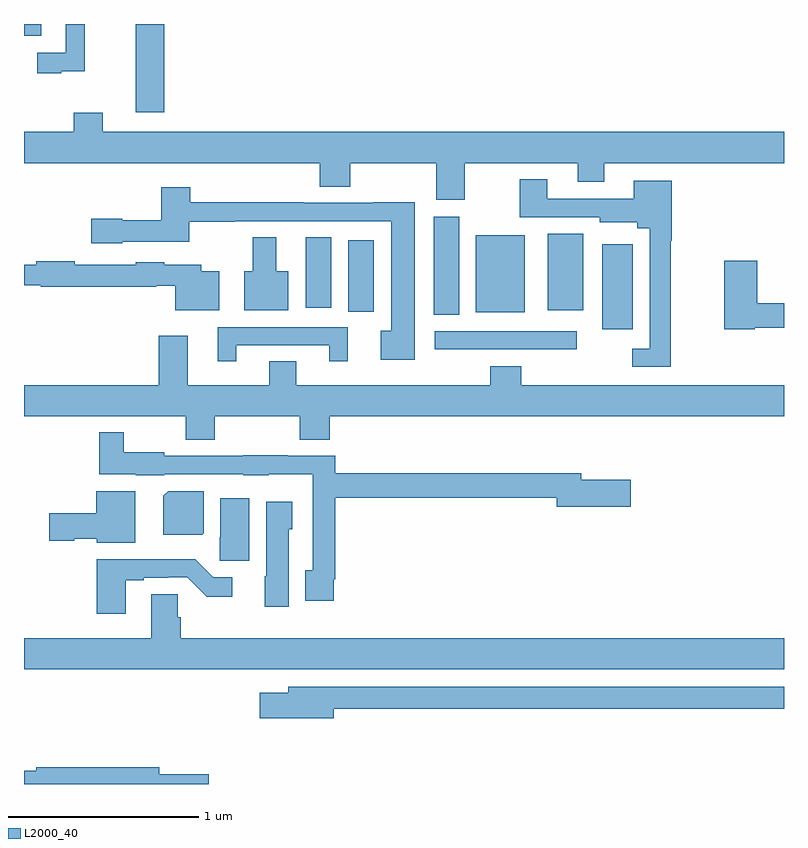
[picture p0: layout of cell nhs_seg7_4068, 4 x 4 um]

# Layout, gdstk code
import gdstk
lib = gdstk.Library(unit=1e-6, precision=1e-09)
def R(c, l, rs):  # rectangles x0, y0, x1, y1
    for r in rs: c.add(gdstk.rectangle(r[:2], r[2:], *l))
def P(c, l, *ps):  # polygons
    for p in ps: c.add(gdstk.Polygon(p, *l))
L2000_40 = (2000, 40)

nhs_seg7_4068 = lib.new_cell('nhs_seg7_4068')
R(nhs_seg7_4068, L2000_40, [(371.163,1014.288,371.908,1014.384), (372.044,1014.393,372.205,1014.841), (371.156,1014.469,371.29,1014.985), (371.378,1014.482,371.635,1014.889), (370.706,1014.486,370.84,1014.862), (371.756,1014.494,371.944,1014.895), (370.484,1014.507,370.618,1014.878), (369.587,1015.536,369.737,1016), (369,1015.937,369.091,1016)])
P(nhs_seg7_4068, L2000_40, [(369.197,1015.751),(369.32,1015.751),(369.32,1016),(369.219,1016),(369.219,1015.848),(369.069,1015.848),(369.069,1015.74),(369.197,1015.74)],
  [(371.319,1015.268),(371.915,1015.268),(371.915,1015.169),(372.055,1015.169),(372.055,1015.268),(373,1015.268),(373,1015.432),(369.415,1015.432),(369.415,1015.534),(369.263,1015.534),(369.263,1015.432),(369,1015.432),(369,1015.268),(370.556,1015.268),(370.556,1015.144),(370.716,1015.144),(370.716,1015.268),(371.171,1015.268),(371.171,1015.074),(371.319,1015.074)],
  [(372.403,1014.86),(372.41,1014.86),(372.41,1015.174),(372.209,1015.174),(372.209,1015.08),(371.755,1015.08),(371.755,1015.183),(371.608,1015.183),(371.608,1014.984),(372.03,1014.984),(372.03,1014.956),(372.228,1014.956),(372.228,1014.926),(372.294,1014.926),(372.294,1014.291),(372.201,1014.291),(372.201,1014.195),(372.403,1014.195)],
  [(371.056,1015.061),(370.838,1015.061),(370.838,1015.059),(370.472,1015.059),(370.472,1015.061),(369.875,1015.061),(369.875,1015.141),(369.722,1015.141),(369.722,1014.967),(369.516,1014.967),(369.516,1014.975),(369.354,1014.975),(369.354,1014.845),(369.516,1014.845),(369.516,1014.854),(369.87,1014.854),(369.87,1014.958),(370.109,1014.958),(370.109,1014.963),(370.934,1014.963),(370.934,1014.386),(370.878,1014.386),(370.878,1014.233),(371.056,1014.233)],
  [(370.39,1014.7),(370.327,1014.7),(370.327,1014.878),(370.205,1014.878),(370.205,1014.7),(370.16,1014.7),(370.16,1014.494),(370.39,1014.494)],
  [(372.846,1014.402),(373,1014.402),(373,1014.53),(372.858,1014.53),(372.858,1014.754),(372.685,1014.754),(372.685,1014.394),(372.846,1014.394)],
  [(370.027,1014.7),(369.934,1014.7),(369.934,1014.733),(369.738,1014.733),(369.738,1014.745),(369.588,1014.745),(369.588,1014.732),(369.266,1014.732),(369.266,1014.752),(369.064,1014.752),(369.064,1014.733),(369,1014.733),(369,1014.624),(369.088,1014.624),(369.088,1014.616),(369.695,1014.616),(369.695,1014.623),(369.797,1014.623),(369.797,1014.494),(370.027,1014.494)],
  [(370.117,1014.309),(370.607,1014.309),(370.607,1014.225),(370.705,1014.225),(370.705,1014.405),(370.019,1014.405),(370.019,1014.225),(370.117,1014.225)],
  [(370.005,1013.936),(370.45,1013.936),(370.45,1013.812),(370.61,1013.812),(370.61,1013.936),(373,1013.936),(373,1014.1),(371.618,1014.1),(371.618,1014.199),(371.453,1014.199),(371.453,1014.1),(370.432,1014.1),(370.432,1014.224),(370.292,1014.224),(370.292,1014.1),(369.862,1014.1),(369.862,1014.358),(369.71,1014.358),(369.71,1014.1),(369,1014.1),(369,1013.936),(369.85,1013.936),(369.85,1013.812),(370.005,1013.812)],
  [(370.63,1013.077),(370.637,1013.077),(370.637,1013.506),(371.804,1013.506),(371.804,1013.459),(372.193,1013.459),(372.193,1013.601),(371.932,1013.601),(371.932,1013.635),(370.637,1013.635),(370.637,1013.727),(370.387,1013.727),(370.387,1013.729),(370.155,1013.729),(370.155,1013.727),(369.738,1013.727),(369.738,1013.746),(369.526,1013.746),(369.526,1013.851),(369.397,1013.851),(369.397,1013.63),(369.588,1013.63),(369.588,1013.624),(369.738,1013.624),(369.738,1013.631),(370.155,1013.631),(370.155,1013.624),(370.287,1013.624),(370.287,1013.63),(370.521,1013.63),(370.521,1013.126),(370.481,1013.126),(370.481,1012.965),(370.63,1012.965)],
  [(369.946,1013.32),(369.946,1013.542),(369.76,1013.542),(369.734,1013.516),(369.734,1013.312),(369.938,1013.312)],
  [(369.586,1013.54),(369.38,1013.54),(369.38,1013.426),(369.132,1013.426),(369.132,1013.279),(369.264,1013.279),(369.264,1013.291),(369.384,1013.291),(369.384,1013.27),(369.586,1013.27)],
  [(370.186,1013.503),(370.034,1013.503),(370.034,1013.298),(370.03,1013.298),(370.03,1013.175),(370.186,1013.175)],
  [(370.393,1013.34),(370.411,1013.34),(370.411,1013.485),(370.274,1013.485),(370.274,1013.094),(370.268,1013.094),(370.268,1012.932),(370.393,1012.932)],
  [(369.535,1013.073),(369.631,1013.073),(369.631,1013.085),(369.758,1013.085),(369.758,1013.088),(369.858,1013.088),(369.961,1012.986),(370.096,1012.986),(370.096,1013.088),(369.996,1013.088),(369.901,1013.183),(369.383,1013.183),(369.383,1012.896),(369.535,1012.896)],
  [(373,1012.768),(369.824,1012.768),(369.824,1012.878),(369.81,1012.878),(369.81,1013),(369.671,1013),(369.671,1012.768),(369,1012.768),(369,1012.604),(373,1012.604)],
  [(370.63,1012.396),(373,1012.396),(373,1012.512),(370.391,1012.512),(370.391,1012.48),(370.242,1012.48),(370.242,1012.346),(370.63,1012.346)],
  [(369.973,1012.052),(369.712,1012.052),(369.712,1012.088),(369.064,1012.088),(369.064,1012.069),(369,1012.069),(369,1012),(369.973,1012)])

lib.write_gds('nhs_seg7_4068.gds')
